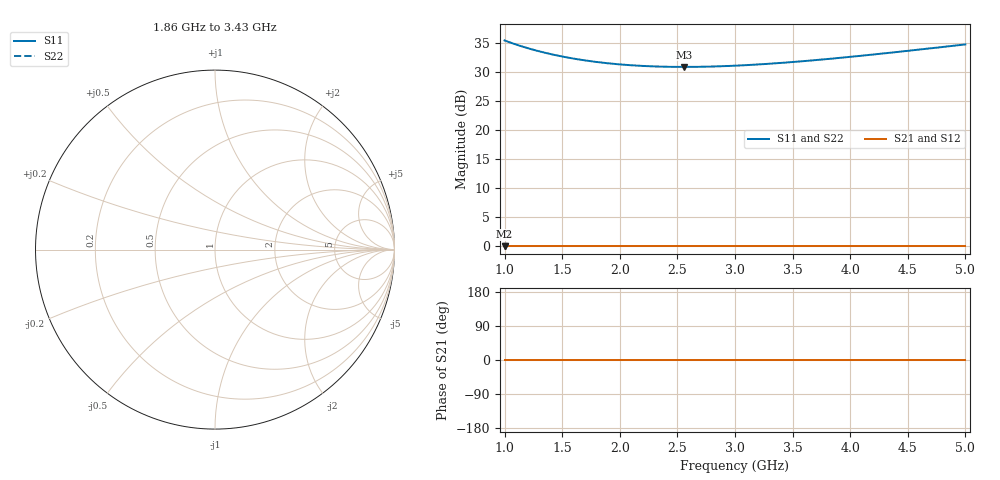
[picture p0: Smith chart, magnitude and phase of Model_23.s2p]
# GHZ S RI R 50
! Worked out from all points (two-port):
!   401 points, 1 GHz to 5 GHz, reference 50 ohm
!   highest |S21| = 0.00 dB at 1 GHz (marker M1); lowest = 0.0 dB at 1 GHz (marker M2)
!   |S21| within 3 dB of the highest: start of sweep to end of sweep
!   lowest |S11| = 30.8 dB at 2.56 GHz (marker M3)
!   |S11| at or under -10 dB: nowhere
!   |S22| runs from 30.8 to 35.4 dB; largest |S21 - S12| = 0
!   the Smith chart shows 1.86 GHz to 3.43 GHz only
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1  58.56 0  1 0  1 0  58.56 0
1.02  57.57 0  1 0  1 0  57.57 0
1.15  52.05 0  1 0  1 0  52.05 0
1.22  49.63 0  1 0  1 0  49.63 0
1.3  47.24 0  1 0  1 0  47.24 0
1.38  45.19 0  1 0  1 0  45.19 0
1.47  43.21 0  1 0  1 0  43.21 0
1.57  41.36 0  1 0  1 0  41.36 0
1.67  39.83 0  1 0  1 0  39.83 0
1.82  38.02 0  1 0  1 0  38.02 0
1.98  36.61 0  1 0  1 0  36.61 0
2.15  35.59 0  1 0  1 0  35.59 0
2.34  34.93 0  1 0  1 0  34.93 0
2.56  34.69 0  1 0  1 0  34.69 0
2.77  34.89 0  1 0  1 0  34.89 0
3  35.54 0  1 0  1 0  35.54 0
3.33  37.13 0  1 0  1 0  37.13 0
3.67  39.46 0  1 0  1 0  39.46 0
4  42.33 0  1 0  1 0  42.33 0
4.34  45.84 0  1 0  1 0  45.84 0
4.64  49.38 0  1 0  1 0  49.38 0
5  54.13 0  1 0  1 0  54.13 0
